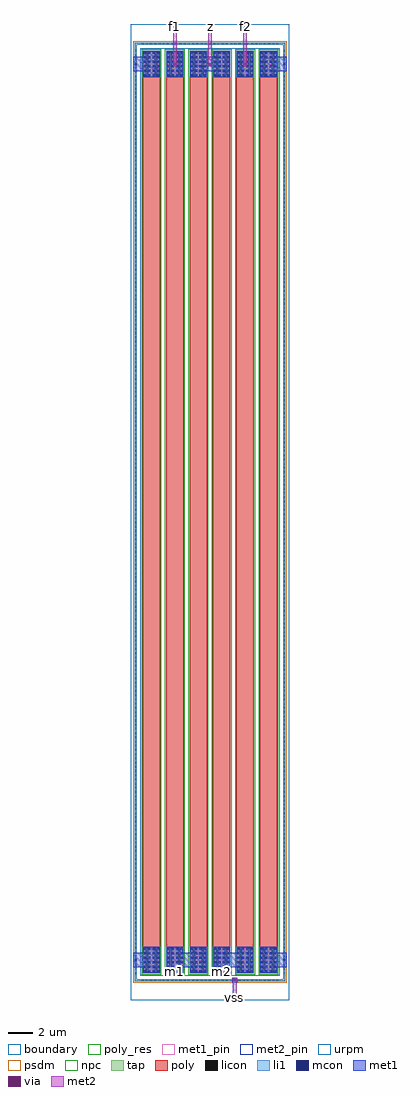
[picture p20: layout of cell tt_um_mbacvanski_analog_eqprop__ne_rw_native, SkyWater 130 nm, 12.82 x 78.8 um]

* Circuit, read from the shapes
.subckt tt_um_mbacvanski_analog_eqprop__ne_rw_native f1 f2 m1 m2 vss z
XR1 vss vss vss sky130_fd_pr__res_xhigh_po w=1.41 l=70.22 m=2
XR2 f1 m1 vss sky130_fd_pr__res_xhigh_po w=1.41 l=70.22
XR3 z m1 vss sky130_fd_pr__res_xhigh_po w=1.41 l=70.22
XR4 z m2 vss sky130_fd_pr__res_xhigh_po w=1.41 l=70.22
XR5 f2 m2 vss sky130_fd_pr__res_xhigh_po w=1.41 l=70.22
.ends

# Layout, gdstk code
import gdstk
lib = gdstk.Library(unit=1e-6, precision=1e-09)
def R(c, l, rs):  # rectangles x0, y0, x1, y1
    for r in rs: c.add(gdstk.rectangle(r[:2], r[2:], *l))
def A(c, l, x, y, w, h, nx, ny, dx, dy):  # array of equal rectangles
    R(c, l, [(x+i*dx, y+j*dy, x+i*dx+w, y+j*dy+h) for i in range(nx) for j in range(ny)])
tap = (65, 44)
poly_res = (66, 13)
poly = (66, 20)
licon = (66, 44)
li1 = (67, 20)
mcon = (67, 44)
met1_pin = (68, 16)
met1 = (68, 20)
via = (68, 44)
met2_pin = (69, 16)
met2 = (69, 20)
urpm = (79, 20)
psdm = (94, 20)
npc = (95, 20)
boundary = (235, 4)

tt_um_mbacvanski_analog_ = lib.new_cell('tt_um_mbacvanski_analog_eqprop__cp_r100x6')
R(tt_um_mbacvanski_analog_, tap, [(-6.08,-37.9,6.08,-37.73), (-6.08,-37.73,-5.91,37.73), (5.91,-37.73,6.08,37.73), (-6.08,37.73,6.08,37.9)])
A(tt_um_mbacvanski_analog_, poly_res, -5.43, -35.17, 1.41, 70.34, 6, 1, 1.89, 0)
A(tt_um_mbacvanski_analog_, poly, -5.43, -37.25, 1.41, 74.5, 6, 1, 1.89, 0)
A(tt_um_mbacvanski_analog_, licon, -5.525, -37.9, 0.17, 0.17, 33, 2, 0.34, 75.63)
A(tt_um_mbacvanski_analog_, licon, -6.08, -37.315, 0.17, 0.17, 1, 220, 0, 0.34)
A(tt_um_mbacvanski_analog_, licon, 5.91, -37.315, 0.17, 0.17, 1, 220, 0, 0.34)
R(tt_um_mbacvanski_analog_, licon, [(-5.175,-37.17,-4.985,-35.17), (-4.465,-37.17,-4.275,-35.17), (-3.285,-37.17,-3.095,-35.17), (-2.575,-37.17,-2.385,-35.17), (-1.395,-37.17,-1.205,-35.17), (-0.685,-37.17,-0.495,-35.17), (0.495,-37.17,0.685,-35.17), (1.205,-37.17,1.395,-35.17), (2.385,-37.17,2.575,-35.17), (3.095,-37.17,3.285,-35.17), (4.275,-37.17,4.465,-35.17), (4.985,-37.17,5.175,-35.17), (-5.175,35.17,-4.985,37.17), (-4.465,35.17,-4.275,37.17), (-3.285,35.17,-3.095,37.17), (-2.575,35.17,-2.385,37.17), (-1.395,35.17,-1.205,37.17), (-0.685,35.17,-0.495,37.17), (0.495,35.17,0.685,37.17), (1.205,35.17,1.395,37.17), (2.385,35.17,2.575,37.17), (3.095,35.17,3.285,37.17), (4.275,35.17,4.465,37.17), (4.985,35.17,5.175,37.17)])
A(tt_um_mbacvanski_analog_, li1, -5.43, -37.25, 1.41, 2.16, 6, 2, 1.89, 72.34)
R(tt_um_mbacvanski_analog_, li1, [(-6.08,-37.9,6.08,-37.73), (-6.08,-37.73,-5.91,37.73), (5.91,-37.73,6.08,37.73), (-6.08,37.73,6.08,37.9)])
A(tt_um_mbacvanski_analog_, mcon, -5.35, -37.155, 0.17, 0.17, 4, 6, 0.36, 0.36)
A(tt_um_mbacvanski_analog_, mcon, -3.46, -37.155, 0.17, 0.17, 4, 6, 0.36, 0.36)
A(tt_um_mbacvanski_analog_, mcon, -1.57, -37.155, 0.17, 0.17, 4, 6, 0.36, 0.36)
A(tt_um_mbacvanski_analog_, mcon, 0.32, -37.155, 0.17, 0.17, 4, 6, 0.36, 0.36)
A(tt_um_mbacvanski_analog_, mcon, 2.21, -37.155, 0.17, 0.17, 4, 6, 0.36, 0.36)
A(tt_um_mbacvanski_analog_, mcon, 4.1, -37.155, 0.17, 0.17, 4, 6, 0.36, 0.36)
A(tt_um_mbacvanski_analog_, mcon, -5.35, 35.18, 0.17, 0.17, 4, 6, 0.36, 0.36)
A(tt_um_mbacvanski_analog_, mcon, -3.46, 35.18, 0.17, 0.17, 4, 6, 0.36, 0.36)
A(tt_um_mbacvanski_analog_, mcon, -1.57, 35.18, 0.17, 0.17, 4, 6, 0.36, 0.36)
A(tt_um_mbacvanski_analog_, mcon, 0.32, 35.18, 0.17, 0.17, 4, 6, 0.36, 0.36)
A(tt_um_mbacvanski_analog_, mcon, 2.21, 35.18, 0.17, 0.17, 4, 6, 0.36, 0.36)
A(tt_um_mbacvanski_analog_, mcon, 4.1, 35.18, 0.17, 0.17, 4, 6, 0.36, 0.36)
A(tt_um_mbacvanski_analog_, met1, -5.38, -37.22, 1.31, 2.105, 6, 2, 1.89, 72.335)
R(tt_um_mbacvanski_analog_, urpm, [(-5.63,-37.45,5.63,37.45)])
R(tt_um_mbacvanski_analog_, psdm, [(-6.205,-38.025,6.205,38.025)])
A(tt_um_mbacvanski_analog_, npc, -5.525, -37.345, 1.6, 74.69, 6, 1, 1.89, 0)
R(tt_um_mbacvanski_analog_, boundary, [(-5.995,-37.815,5.995,37.815)])
tt_um_mbacvanski_analog_.add(gdstk.Label('R1_4', (2.835,37.075), layer=67, texttype=5))
tt_um_mbacvanski_analog_.add(gdstk.Label('R2_4', (2.835,-37.075), layer=67, texttype=5))
tt_um_mbacvanski_analog_.add(gdstk.Label('R2_3', (0.945,-37.075), layer=67, texttype=5))
tt_um_mbacvanski_analog_.add(gdstk.Label('R2_2', (-0.945,-37.075), layer=67, texttype=5))
tt_um_mbacvanski_analog_.add(gdstk.Label('R1_2', (-0.945,37.075), layer=67, texttype=5))
tt_um_mbacvanski_analog_.add(gdstk.Label('R2_1', (-2.835,-37.075), layer=67, texttype=5))
tt_um_mbacvanski_analog_.add(gdstk.Label('R2_5', (4.725,-37.075), layer=67, texttype=5))
tt_um_mbacvanski_analog_.add(gdstk.Label('R1_5', (4.725,37.075), layer=67, texttype=5))
tt_um_mbacvanski_analog_.add(gdstk.Label('R1_1', (-2.835,37.075), layer=67, texttype=5))
tt_um_mbacvanski_analog_.add(gdstk.Label('R2_0', (-4.725,-37.075), layer=67, texttype=5))
tt_um_mbacvanski_analog_.add(gdstk.Label('R1_3', (0.945,37.075), layer=67, texttype=5))
tt_um_mbacvanski_analog_.add(gdstk.Label('R1_0', (-4.725,37.075), layer=67, texttype=5))
tt_um_mbacvanski_analog_.add(gdstk.Label('B', (0,-37.815), layer=67, texttype=5))

c_tt_um_mbacvanski_analog_ = lib.new_cell('tt_um_mbacvanski_analog_eqprop__rw_res')
R(c_tt_um_mbacvanski_analog_, li1, [(8.325,1.5,8.495,1.67), (0.33,3.15,0.5,3.32), (12.32,3.15,12.49,3.32), (0.33,75.48,0.5,75.65), (12.32,75.48,12.49,75.65)])
R(c_tt_um_mbacvanski_analog_, mcon, [(8.325,1.5,8.495,1.67), (0.33,3.15,0.5,3.32), (12.32,3.15,12.49,3.32), (0.33,75.48,0.5,75.65), (12.32,75.48,12.49,75.65)])
R(c_tt_um_mbacvanski_analog_, met1, [(8.21,1.385,8.61,1.785), (0.215,2.635,1.885,3.835), (3.575,2.635,5.465,3.835), (7.355,2.635,9.245,3.835), (10.935,2.635,12.605,3.835), (0.215,74.97,1.885,76.165), (5.465,74.97,7.355,76.165), (10.935,74.97,12.605,76.165), (3.395,75.435,3.755,75.695), (9.065,75.435,9.425,75.695)])
A(c_tt_um_mbacvanski_analog_, via, 3.5, 75.49, 0.15, 0.15, 3, 1, 2.835, 0)
R(c_tt_um_mbacvanski_analog_, via, [(8.335,1.51,8.485,1.66)])
A(c_tt_um_mbacvanski_analog_, met2_pin, 3.525, 78.55, 0.1, 0.1, 3, 1, 2.835, 0)
R(c_tt_um_mbacvanski_analog_, met2_pin, [(8.36,0.15,8.46,0.25)])
A(c_tt_um_mbacvanski_analog_, met2, 3.445, 75.385, 0.26, 0.03, 3, 1, 2.835, 0)
A(c_tt_um_mbacvanski_analog_, met2, 3.425, 75.415, 0.3, 3.385, 3, 1, 2.835, 0)
R(c_tt_um_mbacvanski_analog_, met2, [(8.26,0,8.56,1.735), (8.28,1.735,8.54,1.765)])
R(c_tt_um_mbacvanski_analog_, boundary, [(0,0,12.82,78.8)])
c_tt_um_mbacvanski_analog_.add(gdstk.Reference(tt_um_mbacvanski_analog_, (6.41,39.4)))
c_tt_um_mbacvanski_analog_.add(gdstk.Label('vss', (8.41,0.2), layer=69, texttype=5))
c_tt_um_mbacvanski_analog_.add(gdstk.Label('f2', (9.245,78.6), layer=69, texttype=5))
c_tt_um_mbacvanski_analog_.add(gdstk.Label('f1', (3.575,78.6), layer=69, texttype=5))
c_tt_um_mbacvanski_analog_.add(gdstk.Label('z', (6.41,78.6), layer=69, texttype=5))

c_tt_um_mbacvanski_analog__ = lib.new_cell('tt_um_mbacvanski_analog_eqprop__ne_rw_native')
R(c_tt_um_mbacvanski_analog__, met1_pin, [(3.5,2.25,3.65,2.4), (7.28,2.25,7.43,2.4)])
c_tt_um_mbacvanski_analog__.add(gdstk.Reference(c_tt_um_mbacvanski_analog_, (0,0)))
c_tt_um_mbacvanski_analog__.add(gdstk.Label('m2', (7.355,2.325), layer=68, texttype=5))
c_tt_um_mbacvanski_analog__.add(gdstk.Label('m1', (3.575,2.325), layer=68, texttype=5))
c_tt_um_mbacvanski_analog__.add(gdstk.Label('vss', (8.41,0.2), layer=69, texttype=5))
c_tt_um_mbacvanski_analog__.add(gdstk.Label('f2', (9.245,78.6), layer=69, texttype=5))
c_tt_um_mbacvanski_analog__.add(gdstk.Label('f1', (3.575,78.6), layer=69, texttype=5))
c_tt_um_mbacvanski_analog__.add(gdstk.Label('z', (6.41,78.6), layer=69, texttype=5))

lib.write_gds('tt_um_mbacvanski_analog_eqprop__ne_rw_native.gds')
